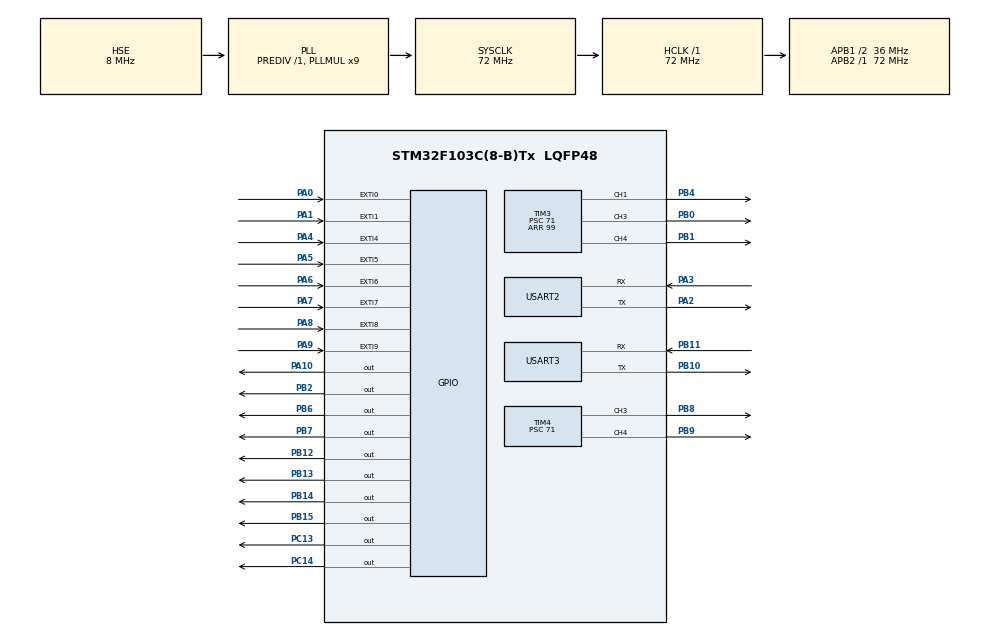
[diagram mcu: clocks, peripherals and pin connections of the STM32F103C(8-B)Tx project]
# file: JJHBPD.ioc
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Dma.Request0=USART2_RX
Dma.Request1=USART2_TX
Dma.Request2=USART3_RX
Dma.Request3=USART3_TX
Dma.USART2_RX.0.Direction=DMA_PERIPH_TO_MEMORY
Dma.USART2_RX.0.Instance=DMA1_Channel6
Dma.USART2_RX.0.MemDataAlignment=DMA_MDATAALIGN_BYTE
Dma.USART2_RX.0.MemInc=DMA_MINC_ENABLE
Dma.USART2_RX.0.Mode=DMA_NORMAL
Dma.USART2_RX.0.PeriphDataAlignment=DMA_PDATAALIGN_BYTE
Dma.USART2_RX.0.PeriphInc=DMA_PINC_DISABLE
Dma.USART2_RX.0.Priority=DMA_PRIORITY_MEDIUM
Dma.USART2_TX.1.Direction=DMA_MEMORY_TO_PERIPH
Dma.USART2_TX.1.Instance=DMA1_Channel7
Dma.USART2_TX.1.MemDataAlignment=DMA_MDATAALIGN_BYTE
Dma.USART2_TX.1.MemInc=DMA_MINC_ENABLE
Dma.USART2_TX.1.Mode=DMA_NORMAL
Dma.USART2_TX.1.PeriphDataAlignment=DMA_PDATAALIGN_BYTE
Dma.USART2_TX.1.PeriphInc=DMA_PINC_DISABLE
Dma.USART2_TX.1.Priority=DMA_PRIORITY_MEDIUM
Dma.USART3_RX.2.Direction=DMA_PERIPH_TO_MEMORY
Dma.USART3_RX.2.Instance=DMA1_Channel3
Dma.USART3_RX.2.MemDataAlignment=DMA_MDATAALIGN_BYTE
Dma.USART3_RX.2.MemInc=DMA_MINC_ENABLE
Dma.USART3_RX.2.Mode=DMA_NORMAL
Dma.USART3_RX.2.PeriphDataAlignment=DMA_PDATAALIGN_BYTE
Dma.USART3_RX.2.PeriphInc=DMA_PINC_DISABLE
Dma.USART3_RX.2.Priority=DMA_PRIORITY_MEDIUM
Dma.USART3_TX.3.Direction=DMA_MEMORY_TO_PERIPH
Dma.USART3_TX.3.Instance=DMA1_Channel2
Dma.USART3_TX.3.MemDataAlignment=DMA_MDATAALIGN_BYTE
Dma.USART3_TX.3.MemInc=DMA_MINC_ENABLE
Dma.USART3_TX.3.Mode=DMA_NORMAL
Dma.USART3_TX.3.PeriphDataAlignment=DMA_PDATAALIGN_BYTE
Dma.USART3_TX.3.PeriphInc=DMA_PINC_DISABLE
Dma.USART3_TX.3.Priority=DMA_PRIORITY_MEDIUM
Mcu.Family=STM32F1
Mcu.Name=STM32F103C(8-B)Tx
Mcu.Package=LQFP48
NVIC.DMA1_Channel2_IRQn=true\:0\:0\:false\:false\:true\:false\:true
NVIC.DMA1_Channel3_IRQn=true\:0\:0\:false\:false\:true\:false\:true
NVIC.DMA1_Channel6_IRQn=true\:0\:0\:false\:false\:true\:false\:true
NVIC.DMA1_Channel7_IRQn=true\:0\:0\:false\:false\:true\:false\:true
NVIC.EXTI0_IRQn=true\:1\:0\:true\:false\:true\:true\:true
NVIC.EXTI1_IRQn=true\:1\:0\:true\:false\:true\:true\:true
NVIC.EXTI4_IRQn=true\:1\:0\:true\:false\:true\:true\:true
NVIC.EXTI9_5_IRQn=true\:1\:0\:true\:false\:true\:true\:true
NVIC.PriorityGroup=NVIC_PRIORITYGROUP_4
NVIC.TIM2_IRQn=true\:1\:0\:true\:false\:true\:true\:true
NVIC.USART2_IRQn=true\:0\:0\:true\:false\:true\:true\:true
NVIC.USART3_IRQn=true\:0\:0\:false\:false\:true\:true\:true
PA0-WKUP.GPIO_ModeDefaultEXTI=GPIO_MODE_IT_RISING
PA0-WKUP.GPIO_PuPd=GPIO_PULLUP
PA0-WKUP.Signal=GPXTI0
PA1.GPIO_ModeDefaultEXTI=GPIO_MODE_IT_RISING
PA1.GPIO_PuPd=GPIO_PULLUP
PA1.Signal=GPXTI1
PA10.PinState=GPIO_PIN_SET
PA10.Signal=GPIO_Output
PA13.Mode=Serial_Wire
PA13.Signal=SYS_JTMS-SWDIO
PA14.Mode=Serial_Wire
PA14.Signal=SYS_JTCK-SWCLK
PA2.Mode=Asynchronous
PA2.Signal=USART2_TX
PA3.Mode=Asynchronous
PA3.Signal=USART2_RX
PA4.GPIO_ModeDefaultEXTI=GPIO_MODE_IT_RISING
PA4.GPIO_PuPd=GPIO_PULLUP
PA4.Signal=GPXTI4
PA5.GPIO_ModeDefaultEXTI=GPIO_MODE_IT_RISING
PA5.GPIO_PuPd=GPIO_PULLUP
PA5.Signal=GPXTI5
PA6.GPIO_ModeDefaultEXTI=GPIO_MODE_IT_RISING
PA6.GPIO_PuPd=GPIO_PULLUP
PA6.Signal=GPXTI6
PA7.GPIO_ModeDefaultEXTI=GPIO_MODE_IT_RISING
PA7.GPIO_PuPd=GPIO_PULLUP
PA7.Signal=GPXTI7
PA8.GPIO_ModeDefaultEXTI=GPIO_MODE_IT_RISING
PA8.GPIO_PuPd=GPIO_PULLUP
PA8.Signal=GPXTI8
PA9.GPIO_ModeDefaultEXTI=GPIO_MODE_IT_RISING
PA9.GPIO_PuPd=GPIO_PULLUP
PA9.Signal=GPXTI9
PB0.GPIO_Speed=GPIO_SPEED_FREQ_HIGH
PB0.Signal=S_TIM3_CH3
PB1.GPIO_Speed=GPIO_SPEED_FREQ_HIGH
PB1.Signal=S_TIM3_CH4
PB10.Mode=Asynchronous
PB10.Signal=USART3_TX
PB11.Mode=Asynchronous
PB11.Signal=USART3_RX
PB12.PinState=GPIO_PIN_SET
PB12.Signal=GPIO_Output
PB13.PinState=GPIO_PIN_RESET
PB13.Signal=GPIO_Output
PB14.PinState=GPIO_PIN_SET
PB14.Signal=GPIO_Output
PB15.PinState=GPIO_PIN_RESET
PB15.Signal=GPIO_Output
PB2.Signal=GPIO_Output
PB4.Signal=S_TIM3_CH1
PB6.PinState=GPIO_PIN_SET
PB6.Signal=GPIO_Output
PB7.PinState=GPIO_PIN_RESET
PB7.Signal=GPIO_Output
PB8.GPIO_Speed=GPIO_SPEED_FREQ_HIGH
PB8.Signal=S_TIM4_CH3
PB9.Signal=S_TIM4_CH4
PC13-TAMPER-RTC.GPIO_PuPd=GPIO_PULLUP
PC13-TAMPER-RTC.PinState=GPIO_PIN_SET
PC13-TAMPER-RTC.Signal=GPIO_Output
PC14-OSC32_IN.GPIO_PuPd=GPIO_PULLDOWN
PC14-OSC32_IN.Signal=GPIO_Output
PD0-OSC_IN.Mode=HSE-External-Oscillator
PD0-OSC_IN.Signal=RCC_OSC_IN
PD1-OSC_OUT.Mode=HSE-External-Oscillator
PD1-OSC_OUT.Signal=RCC_OSC_OUT
ProjectManager.HeapSize=0x200
ProjectManager.StackSize=0x400
ProjectManager.TargetToolchain=MDK-ARM V5.32
RCC.AHBFreq_Value=72000000
RCC.APB1CLKDivider=RCC_HCLK_DIV2
RCC.APB1Freq_Value=36000000
RCC.APB1TimFreq_Value=72000000
RCC.APB2Freq_Value=72000000
RCC.APB2TimFreq_Value=72000000
RCC.HCLKFreq_Value=72000000
RCC.PLLMUL=RCC_PLL_MUL9
RCC.PLLSourceVirtual=RCC_PLLSOURCE_HSE
RCC.SYSCLKFreq_VALUE=72000000
RCC.SYSCLKSource=RCC_SYSCLKSOURCE_PLLCLK
RCC.USBFreq_Value=72000000
SH.S_TIM3_CH1.0=TIM3_CH1,PWM Generation1 CH1
SH.S_TIM3_CH3.0=TIM3_CH3,PWM Generation3 CH3
SH.S_TIM3_CH4.0=TIM3_CH4,PWM Generation4 CH4
SH.S_TIM4_CH3.0=TIM4_CH3,PWM Generation3 CH3
SH.S_TIM4_CH4.0=TIM4_CH4,PWM Generation4 CH4
TIM2.Period=9999
TIM2.Prescaler=71
TIM3.Channel-PWM\ Generation1\ CH1=TIM_CHANNEL_1
TIM3.Channel-PWM\ Generation3\ CH3=TIM_CHANNEL_3
TIM3.Channel-PWM\ Generation4\ CH4=TIM_CHANNEL_4
TIM3.Period=99
TIM3.Prescaler=71
TIM3.Pulse-PWM\ Generation1\ CH1=50
TIM3.Pulse-PWM\ Generation4\ CH4=50
TIM4.Channel-PWM\ Generation3\ CH3=TIM_CHANNEL_3
TIM4.Channel-PWM\ Generation4\ CH4=TIM_CHANNEL_4
TIM4.Period=99
TIM4.Prescaler=71
TIM4.Pulse-PWM\ Generation3\ CH3=50
USART2.VirtualMode=VM_ASYNC
USART3.VirtualMode=VM_ASYNC
VP_TIM2_VS_ClockSourceINT.Mode=Internal
VP_TIM3_VS_ClockSourceINT.Mode=Internal
VP_TIM4_VS_ClockSourceINT.Mode=Internal
board=custom

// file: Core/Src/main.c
/* USER CODE BEGIN Header */
/**
  ******************************************************************************
  * @file           : main.c
  * @brief          : Main program body
  ******************************************************************************
  * @attention
  *
  * <h2><center>&copy; Copyright (c) 2024 STMicroelectronics.
  * All rights reserved.</center></h2>
  *
  * This software component is licensed by ST under BSD 3-Clause license,
  * the "License"; You may not use this file except in compliance with the
  * License. You may obtain a copy of the License at:
  *                        opensource.org/licenses/BSD-3-Clause
  *
  ******************************************************************************
  */
/* USER CODE END Header */
#include "main.h"
#include "dma.h"
#include "tim.h"
#include "usart.h"
#include "gpio.h"

/* USER CODE BEGIN Includes */
#include "string.h"
#include <stdlib.h>
#define ORDER 0x24
/* USER CODE END Includes */

/* USER CODE BEGIN PV */
/* USER CODE BEGIN PV */

/* USER CODE END PV */

void SystemClock_Config(void);

/* USER CODE BEGIN 0 */
	/*PID*/
	uint32_t counter_1 = 0;//编码器计数
	float rotations_1 = 0;//转动圈数
	float distance_1 = 0;//行走距离
	int32_t counter_last_1 = 0;//保存上一次编码器计数
	float speed_w_1 = 0;//轮子角速度
	float speed_v_1 = 0;//轮子线速度
	uint8_t direction_2 = 2;//2轮
	uint32_t counter_2 = 0;
	float rotations_2 = 0;
	float distance_2 = 0;
	int32_t counter_last_2 = 0;
	float speed_w_2 = 0;
	float speed_v_2 = 0;
	uint8_t direction_3 = 2;//3轮
	uint32_t counter_3 = 0;
	float rotations_3 = 0;
	float distance_3 = 0;
	int32_t counter_last_3 = 0;
	float speed_w_3 = 0;
	float speed_v_3 = 0;
	uint8_t direction_4 = 2;//4轮
	uint32_t counter_4 = 0;
	float rotations_4 = 0;
	float distance_4 = 0;
	int32_t counter_last_4 = 0;
	float speed_w_4 = 0;
	float speed_v_4 = 0;
	typedef struct
	{
		float Kp_1,Kp_2,Kp_3,Kp_4;//设置比例系数
		float Ki_1,Ki_2,Ki_3,Ki_4;//设置积分系数
		float Kd_1,Kd_2,Kd_3,Kd_4;//设置微分系数
		float setpoint_1,setpoint_2,setpoint_3,setpoint_4;//目标值
		float integral_1,integral_2,integral_3,integral_4;//误差积分
  float new_error_1,new_error_2,new_error_3,new_error_4;//误差
		float error_1,error_2,error_3,error_4;//上一个误差
  float derivative_1,derivative_2,derivative_3,derivative_4;//微分
		float Output_1,Output_2,Output_3,Output_4; // PID输出
	}PID_TypeDef;
	PID_TypeDef pid;
 // 初始化PID
  void PID_Init_1(PID_TypeDef* pid, float Kp_1, float Ki_1, float Kd_1, float setpoint_1);
  void PID_Init_2(PID_TypeDef* pid, float Kp_2, float Ki_2, float Kd_2, float setpoint_2);
  void PID_Init_3(PID_TypeDef* pid, float Kp_3, float Ki_3, float Kd_3, float setpoint_3);
  void PID_Init_4(PID_TypeDef* pid, float Kp_4, float Ki_4, float Kd_4, float setpoint_4);
  float PID_Compute_moto1(PID_TypeDef*pid);//PID计算函数
  float PID_Compute_moto2(PID_TypeDef*pid);
  float PID_Compute_moto3(PID_TypeDef*pid);
  float PID_Compute_moto4(PID_TypeDef*pid);
  void ControlMotorSpeed_1(float speed);//电机控制函数
  void ControlMotorSpeed_2(float speed);
  void ControlMotorSpeed_3(float speed);
  void ControlMotorSpeed_4(float speed);
  void ControlMotorDirection_stop();//电机方向函数
  void ControlMotorDirection_front();
  void ControlMotorDirection_back();
  void ControlMotorDirection_left_front();
  void ControlMotorDirection_left_back();
  void ControlMotorDirection_left();
  void ControlMotorDirection_right_front();
  void ControlMotorDirection_right_back();
  void ControlMotorDirection_right();

void HAL_UART_RxCpltCallback(UART_HandleTypeDef *huart)
{
 if(huart->Instance==USART2)
 {
   if(receive_data[0]==0xa5&&receive_data[4]==0x5a)
			{
    receive_ESP32_Data.Header=receive_data[0];
				receive_ESP32_Data.button_status=receive_data[1];
				receive_ESP32_Data.joystick_x=hexToDecimal(receive_data[2])-100;
				receive_ESP32_Data.joystick_y=hexToDecimal(receive_data[3])-100;
				receive_ESP32_Data.Tail=receive_data[4];
				if(receive_ESP32_Data.button_status==ORDER)
				{
				 uint8_t PC_Flag[]={0x01,0x10};
				HAL_UART_Transmit_DMA(&huart3,PC_Flag,1);
				}
   }
   else
   {
    HAL_NVIC_SystemReset();
   }
   if(receive_ESP32_Data.joystick_x == 0 && receive_ESP32_Data.joystick_y > 0)//front
   {
      ControlMotorDirection_front();
      PID_Init_1(&pid, 1.0, 0.1, 0.05, receive_ESP32_Data.joystick_y * 8);//0位要通过xy计算
      PID_Init_2(&pid, 1.0, 0.1, 0.05, receive_ESP32_Data.joystick_y * 8);
      PID_Init_3(&pid, 1.0, 0.1, 0.05, receive_ESP32_Data.joystick_y * 8);
      PID_Init_4(&pid, 1.0, 0.1, 0.05, receive_ESP32_Data.joystick_y * 8);
      ControlMotorSpeed_1(PID_Compute_moto1(&pid));//转到定义改系数
      ControlMotorSpeed_2(PID_Compute_moto2(&pid));
      ControlMotorSpeed_3(PID_Compute_moto3(&pid));
      ControlMotorSpeed_4(PID_Compute_moto4(&pid));
   }
   if(receive_ESP32_Data.joystick_x == 0 && receive_ESP32_Data.joystick_y < 0)//back
   {
      ControlMotorDirection_back();
      PID_Init_1(&pid, 1.0, 0.1, 0.05, -receive_ESP32_Data.joystick_y * 8);//0位要通过xy计算
      PID_Init_2(&pid, 1.0, 0.1, 0.05, -receive_ESP32_Data.joystick_y * 8);
      PID_Init_3(&pid, 1.0, 0.1, 0.05, -receive_ESP32_Data.joystick_y * 8);
      PID_Init_4(&pid, 1.0, 0.1, 0.05, -receive_ESP32_Data.joystick_y * 8);
      ControlMotorSpeed_1(PID_Compute_moto1(&pid));//转到定义改系数
      ControlMotorSpeed_2(PID_Compute_moto2(&pid));
      ControlMotorSpeed_3(PID_Compute_moto3(&pid));
      ControlMotorSpeed_4(PID_Compute_moto4(&pid));
   }
   if(receive_ESP32_Data.joystick_x < 0 && receive_ESP32_Data.joystick_x > -40 && receive_ESP32_Data.joystick_y > 0)//left front 0-45
   {
      ControlMotorDirection_left_front();
      PID_Init_1(&pid, 1.0, 0.1, 0.05, 400+receive_ESP32_Data.joystick_x * 8);//0位要通过xy计算
      PID_Init_2(&pid, 1.0, 0.1, 0.05, 400+receive_ESP32_Data.joystick_x * 8);
      PID_Init_3(&pid, 1.0, 0.1, 0.05, 400);
      PID_Init_4(&pid, 1.0, 0.1, 0.05, 400);
      ControlMotorSpeed_1(PID_Compute_moto1(&pid));//转到定义改系数
      ControlMotorSpeed_2(PID_Compute_moto2(&pid));
      ControlMotorSpeed_3(PID_Compute_moto3(&pid));
      ControlMotorSpeed_4(PID_Compute_moto4(&pid));
   }
   if(receive_ESP32_Data.joystick_x <= -40)//left
   {
      ControlMotorDirection_left();
      PID_Init_1(&pid, 1.0, 0.1, 0.05, 400);//0位要通过xy计算
      PID_Init_2(&pid, 1.0, 0.1, 0.05, 400);
      PID_Init_3(&pid, 1.0, 0.1, 0.05, 400);
      PID_Init_4(&pid, 1.0, 0.1, 0.05, 400);
      ControlMotorSpeed_1(PID_Compute_moto1(&pid));//转到定义改系数
      ControlMotorSpeed_2(PID_Compute_moto2(&pid));
      ControlMotorSpeed_3(PID_Compute_moto3(&pid));
      ControlMotorSpeed_4(PID_Compute_moto4(&pid));
   }
   if(receive_ESP32_Data.joystick_x < 0 && receive_ESP32_Data.joystick_x > -40 && receive_ESP32_Data.joystick_y < 0)//left back 135-180
   {
      ControlMotorDirection_left_back();
      PID_Init_1(&pid, 1.0, 0.1, 0.05, 400+receive_ESP32_Data.joystick_x * 8);//0位要通过xy计算
      PID_Init_2(&pid, 1.0, 0.1, 0.05, 400+receive_ESP32_Data.joystick_x * 8);
      PID_Init_3(&pid, 1.0, 0.1, 0.05, 400);
      PID_Init_4(&pid, 1.0, 0.1, 0.05, 400);
      ControlMotorSpeed_1(PID_Compute_moto1(&pid));//转到定义改系数
      ControlMotorSpeed_2(PID_Compute_moto2(&pid));
      ControlMotorSpeed_3(PID_Compute_moto3(&pid));
      ControlMotorSpeed_4(PID_Compute_moto4(&pid));
   }
   if(receive_ESP32_Data.joystick_x > 0 && receive_ESP32_Data.joystick_x < 40 && receive_ESP32_Data.joystick_y > 0)//right front 0-45
   {
      ControlMotorDirection_right_front();
      PID_Init_1(&pid, 1.0, 0.1, 0.05, 400);//0位要通过xy计算
      PID_Init_2(&pid, 1.0, 0.1, 0.05, 400);
      PID_Init_3(&pid, 1.0, 0.1, 0.05, 400-receive_ESP32_Data.joystick_x * 8);
      PID_Init_4(&pid, 1.0, 0.1, 0.05, 400-receive_ESP32_Data.joystick_x * 8);
      ControlMotorSpeed_1(PID_Compute_moto1(&pid));//转到定义改系数
      ControlMotorSpeed_2(PID_Compute_moto2(&pid));
      ControlMotorSpeed_3(PID_Compute_moto3(&pid));
      ControlMotorSpeed_4(PID_Compute_moto4(&pid));
   }
   if(receive_ESP32_Data.joystick_x > 40)//right
   {
      ControlMotorDirection_right();
      PID_Init_1(&pid, 1.0, 0.1, 0.05, 400);//0位要通过xy计算
      PID_Init_2(&pid, 1.0, 0.1, 0.05, 400);
      PID_Init_3(&pid, 1.0, 0.1, 0.05, 400);
      PID_Init_4(&pid, 1.0, 0.1, 0.05, 400);
      ControlMotorSpeed_1(PID_Compute_moto1(&pid));//转到定义改系数
      ControlMotorSpeed_2(PID_Compute_moto2(&pid));
      ControlMotorSpeed_3(PID_Compute_moto3(&pid));
      ControlMotorSpeed_4(PID_Compute_moto4(&pid));
   }
   if(receive_ESP32_Data.joystick_x > 0 && receive_ESP32_Data.joystick_x < 40 && receive_ESP32_Data.joystick_y < 0)//right back
   {
      ControlMotorDirection_right_back();
      PID_Init_1(&pid, 1.0, 0.1, 0.05, 400);//0位要通过xy计算
      PID_Init_2(&pid, 1.0, 0.1, 0.05, 400);
      PID_Init_3(&pid, 1.0, 0.1, 0.05, 400-receive_ESP32_Data.joystick_x * 8);
      PID_Init_4(&pid, 1.0, 0.1, 0.05, 400-receive_ESP32_Data.joystick_x * 8);
      ControlMotorSpeed_1(PID_Compute_moto1(&pid));//转到定义改系数
      ControlMotorSpeed_2(PID_Compute_moto2(&pid));
      ControlMotorSpeed_3(PID_Compute_moto3(&pid));
      ControlMotorSpeed_4(PID_Compute_moto4(&pid));
   }
   if(receive_ESP32_Data.joystick_x == 0 &&receive_ESP32_Data.joystick_y == 0)//STOP
   {
      HAL_GPIO_WritePin (GPIOC,GPIO_PIN_13,GPIO_PIN_SET);//电机1
      HAL_GPIO_WritePin (GPIOC,GPIO_PIN_14,GPIO_PIN_RESET);
      HAL_GPIO_WritePin (GPIOB,GPIO_PIN_6,GPIO_PIN_RESET);//电机2
      HAL_GPIO_WritePin (GPIOB,GPIO_PIN_7,GPIO_PIN_SET);
      HAL_GPIO_WritePin (GPIOA,GPIO_PIN_10,GPIO_PIN_SET);//电机3
      HAL_GPIO_WritePin (GPIOB,GPIO_PIN_15,GPIO_PIN_RESET);
      HAL_GPIO_WritePin (GPIOB,GPIO_PIN_13,GPIO_PIN_SET);//电机4
      HAL_GPIO_WritePin (GPIOB,GPIO_PIN_14,GPIO_PIN_RESET);
      PID_Init_1(&pid, 1.0, 0.1, 0.05, 0);//0位要通过xy计算
      PID_Init_2(&pid, 1.0, 0.1, 0.05, 0);
      PID_Init_3(&pid, 1.0, 0.1, 0.05, 0);
      PID_Init_4(&pid, 1.0, 0.1, 0.05, 0);
      ControlMotorSpeed_1(PID_Compute_moto1(&pid));//转到定义改系数
      ControlMotorSpeed_2(PID_Compute_moto2(&pid));
      ControlMotorSpeed_3(PID_Compute_moto3(&pid));
      ControlMotorSpeed_4(PID_Compute_moto4(&pid));
   }
			HAL_UART_Receive_IT(&huart2,receive_data, 5);

 }

}

void HAL_UARTEx_RxEventCallback(UART_HandleTypeDef *huart, uint16_t Size)
{
if (huart == &huart3)
    {
        __HAL_UNLOCK(huart);
				xUSART_PC.ReceiveNum  = 14;
        memset(xUSART_PC.ReceiveData, 0, 14);
        memcpy(xUSART_PC.ReceiveData, xUSART_PC.BuffTemp, 14);
			for(int i=0;i<12;i++)
			{
			buffer1.char_data[i]=xUSART_PC.ReceiveData[i+1];
			}
     if(xUSART_PC.ReceiveData[0]==0x01)
     {
      HAL_UART_Receive_IT(&huart2, receive_data, 5);
     }
			 if(xUSART_PC.ReceiveData[0]==0x2a&&xUSART_PC.ReceiveData[13]==0x3b)
			{
				receive_PC_Data.Header=xUSART_PC.ReceiveData[0];
				receive_PC_Data.x=buffer1.data[0];
				receive_PC_Data.y=buffer1.data[1];
				receive_PC_Data.yaw=buffer1.data[2];
				receive_PC_Data.Tail=xUSART_PC.ReceiveData[13];
			}
   if (receive_PC_Data.x == 1 && receive_PC_Data.yaw == 0 )
   {
      HAL_GPIO_WritePin (GPIOC,GPIO_PIN_13,GPIO_PIN_SET);//电机1
      HAL_GPIO_WritePin (GPIOC,GPIO_PIN_14,GPIO_PIN_RESET);
      HAL_GPIO_WritePin (GPIOB,GPIO_PIN_6,GPIO_PIN_RESET);//电机2
      HAL_GPIO_WritePin (GPIOB,GPIO_PIN_7,GPIO_PIN_SET);
      HAL_GPIO_WritePin (GPIOA,GPIO_PIN_10,GPIO_PIN_SET);//电机3
      HAL_GPIO_WritePin (GPIOB,GPIO_PIN_15,GPIO_PIN_RESET);
      HAL_GPIO_WritePin (GPIOB,GPIO_PIN_13,GPIO_PIN_SET);//电机4
      HAL_GPIO_WritePin (GPIOB,GPIO_PIN_14,GPIO_PIN_RESET);
      __HAL_TIM_SET_COMPARE(&htim3,TIM_CHANNEL_3,20);
      __HAL_TIM_SET_COMPARE(&htim3,TIM_CHANNEL_4,20);
      __HAL_TIM_SET_COMPARE(&htim4,TIM_CHANNEL_3,20);
      __HAL_TIM_SET_COMPARE(&htim4,TIM_CHANNEL_4,20);
   }
   else if (receive_PC_Data.x == -1 && receive_PC_Data.yaw == 0 )
   {
      HAL_GPIO_WritePin (GPIOC,GPIO_PIN_13,GPIO_PIN_RESET);//电机1
      HAL_GPIO_WritePin (GPIOC,GPIO_PIN_14,GPIO_PIN_SET);
      HAL_GPIO_WritePin (GPIOB,GPIO_PIN_6,GPIO_PIN_SET);//电机2
      HAL_GPIO_WritePin (GPIOB,GPIO_PIN_7,GPIO_PIN_RESET);
      HAL_GPIO_WritePin (GPIOA,GPIO_PIN_10,GPIO_PIN_RESET);//电机3
      HAL_GPIO_WritePin (GPIOB,GPIO_PIN_15,GPIO_PIN_SET);
      HAL_GPIO_WritePin (GPIOB,GPIO_PIN_13,GPIO_PIN_RESET);//电机4
      HAL_GPIO_WritePin (GPIOB,GPIO_PIN_14,GPIO_PIN_SET);
      __HAL_TIM_SET_COMPARE(&htim3,TIM_CHANNEL_3,20);
      __HAL_TIM_SET_COMPARE(&htim3,TIM_CHANNEL_4,20);
      __HAL_TIM_SET_COMPARE(&htim4,TIM_CHANNEL_3,20);
      __HAL_TIM_SET_COMPARE(&htim4,TIM_CHANNEL_4,20);
   }
   else if (receive_PC_Data.x == 0 && receive_PC_Data.yaw == 1 )
   {
      HAL_GPIO_WritePin (GPIOC,GPIO_PIN_13,GPIO_PIN_RESET);//电机1
      HAL_GPIO_WritePin (GPIOC,GPIO_PIN_14,GPIO_PIN_SET);
      HAL_GPIO_WritePin (GPIOB,GPIO_PIN_6,GPIO_PIN_SET);//电机2
      HAL_GPIO_WritePin (GPIOB,GPIO_PIN_7,GPIO_PIN_RESET);
      HAL_GPIO_WritePin (GPIOA,GPIO_PIN_10,GPIO_PIN_SET);//电机3
      HAL_GPIO_WritePin (GPIOB,GPIO_PIN_15,GPIO_PIN_RESET);
      HAL_GPIO_WritePin (GPIOB,GPIO_PIN_13,GPIO_PIN_SET);//电机4
      HAL_GPIO_WritePin (GPIOB,GPIO_PIN_14,GPIO_PIN_RESET);
      __HAL_TIM_SET_COMPARE(&htim3,TIM_CHANNEL_3,40);
      __HAL_TIM_SET_COMPARE(&htim3,TIM_CHANNEL_4,40);
      __HAL_TIM_SET_COMPARE(&htim4,TIM_CHANNEL_3,40);
      __HAL_TIM_SET_COMPARE(&htim4,TIM_CHANNEL_4,40);
   }
   else if (receive_PC_Data.x == 0 && receive_PC_Data.yaw == -1 )
   {
      HAL_GPIO_WritePin (GPIOC,GPIO_PIN_13,GPIO_PIN_SET);//电机1
      HAL_GPIO_WritePin (GPIOC,GPIO_PIN_14,GPIO_PIN_RESET);
      HAL_GPIO_WritePin (GPIOB,GPIO_PIN_6,GPIO_PIN_RESET);//电机2
      HAL_GPIO_WritePin (GPIOB,GPIO_PIN_7,GPIO_PIN_SET);
      HAL_GPIO_WritePin (GPIOA,GPIO_PIN_10,GPIO_PIN_RESET);//电机3
      HAL_GPIO_WritePin (GPIOB,GPIO_PIN_15,GPIO_PIN_SET);
      HAL_GPIO_WritePin (GPIOB,GPIO_PIN_13,GPIO_PIN_RESET);//电机4
      HAL_GPIO_WritePin (GPIOB,GPIO_PIN_14,GPIO_PIN_SET);
      __HAL_TIM_SET_COMPARE(&htim3,TIM_CHANNEL_3,40);
      __HAL_TIM_SET_COMPARE(&htim3,TIM_CHANNEL_4,40);
      __HAL_TIM_SET_COMPARE(&htim4,TIM_CHANNEL_3,40);
      __HAL_TIM_SET_COMPARE(&htim4,TIM_CHANNEL_4,40);
   }
	 else
   {
      HAL_GPIO_WritePin (GPIOC,GPIO_PIN_13,GPIO_PIN_RESET);//电机1
      HAL_GPIO_WritePin (GPIOC,GPIO_PIN_14,GPIO_PIN_RESET);
      HAL_GPIO_WritePin (GPIOB,GPIO_PIN_6,GPIO_PIN_RESET);//电机2
      HAL_GPIO_WritePin (GPIOB,GPIO_PIN_7,GPIO_PIN_RESET);
      HAL_GPIO_WritePin (GPIOA,GPIO_PIN_10,GPIO_PIN_RESET);//电机3
      HAL_GPIO_WritePin (GPIOB,GPIO_PIN_15,GPIO_PIN_RESET);
      HAL_GPIO_WritePin (GPIOB,GPIO_PIN_13,GPIO_PIN_RESET);//电机4
      HAL_GPIO_WritePin (GPIOB,GPIO_PIN_14,GPIO_PIN_RESET);
      __HAL_TIM_SET_COMPARE(&htim3,TIM_CHANNEL_3,0);
      __HAL_TIM_SET_COMPARE(&htim3,TIM_CHANNEL_4,0);
      __HAL_TIM_SET_COMPARE(&htim4,TIM_CHANNEL_3,0);
      __HAL_TIM_SET_COMPARE(&htim4,TIM_CHANNEL_4,0);
   }
			 HAL_UARTEx_ReceiveToIdle_DMA(&huart3, xUSART_PC.BuffTemp, 14);
   __HAL_DMA_DISABLE_IT(&hdma_usart3_rx,DMA_IT_HT);
		}
}

  void HAL_TIM_PeriodElapsedCallback(TIM_HandleTypeDef *htim)
  {
	 if(htim->Instance == TIM2)
	 {
		//计算
		rotations_1 = (float)counter_1 /(1*30*11);//1倍频 30减速比 编码器11PPR
	 distance_1 = rotations_1  * 3.1415926 * 0.065;//轮子直径0.065m
	 speed_w_1 = (float)(counter_1 - counter_last_1)/(1*30*11) * (1000/10) * 60;//uint-rpm
	 speed_v_1 = speed_w_1 / 60 * 3.1415926 * 1;//每秒转速
		counter_last_1 = counter_1 ;//保存上一次编码器读数
		rotations_2 = (float)counter_2 /(1*30*11);
		distance_2 = rotations_2  * 3.1415926 * 0.065;
		speed_w_2 = (float)(counter_2 - counter_last_2)/(1*30*11) * (1000/10) * 60;
		speed_v_2 = speed_w_2 / 60 * 3.1415926 * 1;
		counter_last_2 = counter_2 ;
		rotations_3 = (float)counter_3 /(1*30*11);
		distance_3 = rotations_3  * 3.1415926 * 0.065;
		speed_w_3 = (float)(counter_3 - counter_last_3)/(1*30*11) * (1000/10) * 60;
		speed_v_3 = speed_w_3 / 60 * 3.1415926 * 1;
		counter_last_3 = counter_3 ;
		rotations_4 = (float)counter_4 /(1*30*11);
		distance_4 = rotations_4  * 3.1415926 * 0.065;
		speed_w_4 = (float)(counter_4 - counter_last_4)/(1*30*11) * (1000/10) * 60;
		speed_v_4 = speed_w_4 / 60 * 3.1415926 * 1;
		counter_last_4 = counter_4 ;
	 }
  }
  void HAL_GPIO_EXTI_Callback(uint16_t GPIO_Pin)
  {
	 if(GPIO_Pin == GPIO_PIN_8)//电机1A相
	 {
		counter_1 ++;
	 }
	 if(GPIO_Pin == GPIO_PIN_0)//电机2A相
	 {
		counter_2 ++;
	 }
	 if(GPIO_Pin == GPIO_PIN_6)//电机3A相
	 {
		counter_3 ++;
	 }
	 if(GPIO_Pin == GPIO_PIN_4)//电机4A相
	 {
		counter_4 ++;
	 }
  }
/* USER CODE END 0 */

int main(void)
{
  /* USER CODE BEGIN 1 */
  //__HAL_TIM_SET_COMPARE(&htim3,TIM_CHANNEL_3,50);
  /* USER CODE END 1 */

  /* MCU Configuration--------------------------------------------------------*/

  /* Reset of all peripherals, Initializes the Flash interface and the Systick. */
  HAL_Init();

  /* USER CODE BEGIN Init */
 // 初始化PID控制器
  PID_Init_1(&pid, 1.0, 0.1, 0.05, 0); // 假设Kp=1.0, Ki=0.1, Kd=0.05, 目标转速0RPM（要调）
  PID_Init_2(&pid, 1.0, 0.1, 0.05, 0);
  PID_Init_3(&pid, 1.0, 0.1, 0.05, 0);
  PID_Init_4(&pid, 1.0, 0.1, 0.05, 0);
  /* USER CODE END Init */

  /* Configure the system clock */
  SystemClock_Config();

  /* Initialize all configured peripherals */
  MX_GPIO_Init();
  MX_TIM4_Init();
  MX_USART2_UART_Init();
  MX_TIM2_Init();
  MX_TIM3_Init();
  MX_DMA_Init();
  MX_USART3_UART_Init();
  /* USER CODE BEGIN 2 */
  HAL_TIM_PWM_Start(&htim3,TIM_CHANNEL_4);
  HAL_TIM_PWM_Start(&htim3,TIM_CHANNEL_3);
  HAL_TIM_PWM_Start(&htim4,TIM_CHANNEL_3);
  HAL_TIM_PWM_Start(&htim4,TIM_CHANNEL_4);
  HAL_TIM_Base_Start_IT(&htim2);
 HAL_UARTEx_ReceiveToIdle_DMA(&huart3, xUSART_PC.BuffTemp, 14);
	__HAL_DMA_DISABLE_IT(&hdma_usart3_rx,DMA_IT_HT);
 HAL_UART_Receive_IT(&huart2,receive_data, 5);
  /* USER CODE END 2 */

  /* Infinite loop */
  while (1)
  {

  }
}

void SystemClock_Config(void)
{
  RCC_OscInitTypeDef RCC_OscInitStruct = {0};
  RCC_ClkInitTypeDef RCC_ClkInitStruct = {0};

  /** Initializes the RCC Oscillators according to the specified parameters
  * in the RCC_OscInitTypeDef structure.
  */
  RCC_OscInitStruct.OscillatorType = RCC_OSCILLATORTYPE_HSE;
  RCC_OscInitStruct.HSEState = RCC_HSE_ON;
  RCC_OscInitStruct.HSEPredivValue = RCC_HSE_PREDIV_DIV1;
  RCC_OscInitStruct.HSIState = RCC_HSI_ON;
  RCC_OscInitStruct.PLL.PLLState = RCC_PLL_ON;
  RCC_OscInitStruct.PLL.PLLSource = RCC_PLLSOURCE_HSE;
  RCC_OscInitStruct.PLL.PLLMUL = RCC_PLL_MUL9;
  if (HAL_RCC_OscConfig(&RCC_OscInitStruct) != HAL_OK)
  {
    Error_Handler();
  }
  /** Initializes the CPU, AHB and APB buses clocks
  */
  RCC_ClkInitStruct.ClockType = RCC_CLOCKTYPE_HCLK|RCC_CLOCKTYPE_SYSCLK
                              |RCC_CLOCKTYPE_PCLK1|RCC_CLOCKTYPE_PCLK2;
  RCC_ClkInitStruct.SYSCLKSource = RCC_SYSCLKSOURCE_PLLCLK;
  RCC_ClkInitStruct.AHBCLKDivider = RCC_SYSCLK_DIV1;
  RCC_ClkInitStruct.APB1CLKDivider = RCC_HCLK_DIV2;
  RCC_ClkInitStruct.APB2CLKDivider = RCC_HCLK_DIV1;

  if (HAL_RCC_ClockConfig(&RCC_ClkInitStruct, FLASH_LATENCY_2) != HAL_OK)
  {
    Error_Handler();
  }
}

/* USER CODE BEGIN 4 */
void PID_Init_1(PID_TypeDef* pid, float Kp_1, float Ki_1, float Kd_1, float setpoint_1) {
    pid->Kp_1 = Kp_1;
    pid->Ki_1 = Ki_1;
    pid->Kd_1  = Kd_1 ;
    pid->setpoint_1 = setpoint_1;
    pid->integral_1 = 0.0f;
    pid->error_1 = 0.0f;
    pid->Output_1 = 0.0f;
}
void PID_Init_2(PID_TypeDef* pid, float Kp_2, float Ki_2, float Kd_2, float setpoint_2) {
    pid->Kp_2 = Kp_2;
    pid->Ki_2 = Ki_2;
    pid->Kd_2  = Kd_2;
    pid->setpoint_2 = setpoint_2;
    pid->integral_2 = 0.0f;
    pid->error_2 = 0.0f;
    pid->Output_2 = 0.0f;
}
void PID_Init_3(PID_TypeDef* pid, float Kp_3, float Ki_3, float Kd_3, float setpoint_3) {
    pid->Kp_3 = Kp_3;
    pid->Ki_3 = Ki_3;
    pid->Kd_3 = Kd_3;
    pid->setpoint_3 = setpoint_3;
    pid->integral_3 = 0.0f;
    pid->error_3 = 0.0f;
    pid->Output_3 = 0.0f;
}
void PID_Init_4(PID_TypeDef* pid, float Kp_4, float Ki_4, float Kd_4, float setpoint_4) {
    pid->Kp_4 = Kp_4;
    pid->Ki_4 = Ki_4;
    pid->Kd_4  = Kd_4 ;
    pid->setpoint_4 = setpoint_4;
    pid->integral_4 = 0.0f;
    pid->error_4 = 0.0f;
    pid->Output_4 = 0.0f;
}
float PID_Compute_moto1(PID_TypeDef*pid)
{
	   pid->new_error_1 = pid->setpoint_1 - speed_w_1;  // 计算误差
    pid->integral_1 += pid->new_error_1;  // 积分
    pid->derivative_1 = pid->new_error_1 - pid->error_1;  // 计算微分
    pid->Output_1 = pid->Kp_1 * pid->new_error_1 + pid->Ki_1 * pid->integral_1 + pid->Kd_1 * pid->derivative_1;// 计算PID输出
    pid->error_1 = pid->new_error_1;  // 更新上一个误差
    return pid->Output_1;  // 返回控制输出
}
float PID_Compute_moto2(PID_TypeDef*pid)
{
	   pid->new_error_2 = pid->setpoint_2 - speed_w_2;  // 计算误差
    pid->integral_2 += pid->new_error_2;  // 积分
    pid->derivative_2 = pid->new_error_2 - pid->error_2;  // 计算微分
    pid->Output_2 = pid->Kp_2 * pid->new_error_2 + pid->Ki_2 * pid->integral_2 + pid->Kd_2 * pid->derivative_2;// 计算PID输出
    pid->error_2 = pid->new_error_2;  // 更新上一个误差
    return pid->Output_2;  // 返回控制输出
}
float PID_Compute_moto3(PID_TypeDef*pid)
{
	   pid->new_error_3 = pid->setpoint_3 - speed_w_3;  // 计算误差
    pid->integral_3 += pid->new_error_3;  // 积分
    pid->derivative_3 = pid->new_error_3 - pid->error_3;  // 计算微分
    pid->Output_3 = pid->Kp_3 * pid->new_error_3 + pid->Ki_3 * pid->integral_3 + pid->Kd_3 * pid->derivative_3;// 计算PID输出
    pid->error_3 = pid->new_error_3;  // 更新上一个误差
    return pid->Output_3;  // 返回控制输出
}
float PID_Compute_moto4(PID_TypeDef*pid)
{
	   pid->new_error_4 = pid->setpoint_4 - speed_w_4 ;  // 计算误差
    pid->integral_4 += pid->new_error_4;  // 积分
    pid->derivative_4 = pid->new_error_4 - pid->error_4;  // 计算微分
    pid->Output_4 = pid->Kp_4 * pid->new_error_4 + pid->Ki_4 * pid->integral_4 + pid->Kd_4 * pid->derivative_4;// 计算PID输出
    pid->error_4 = pid->new_error_4;  // 更新上一个误差
    return pid->Output_4;  // 返回控制输出
}
void ControlMotorSpeed_1(float speed)
{
    __HAL_TIM_SET_COMPARE (&htim3 ,TIM_CHANNEL_3,(uint16_t)speed );//具体什么系数要调
}
void ControlMotorSpeed_2(float speed)
{
    __HAL_TIM_SET_COMPARE (&htim3 ,TIM_CHANNEL_4,(uint16_t)speed );//具体什么系数要调
}
void ControlMotorSpeed_3(float speed)
{
    __HAL_TIM_SET_COMPARE (&htim4 ,TIM_CHANNEL_3,(uint16_t)speed );//具体什么系数要调
}
void ControlMotorSpeed_4(float speed)
{
    __HAL_TIM_SET_COMPARE (&htim4 ,TIM_CHANNEL_4,(uint16_t)speed );//具体什么系数要调
}
void ControlMotorDirection_stop()
{
      HAL_GPIO_WritePin (GPIOC,GPIO_PIN_13,GPIO_PIN_RESET);//电机1
      HAL_GPIO_WritePin (GPIOC,GPIO_PIN_14,GPIO_PIN_RESET);
      HAL_GPIO_WritePin (GPIOB,GPIO_PIN_6,GPIO_PIN_RESET);//电机2
      HAL_GPIO_WritePin (GPIOB,GPIO_PIN_7,GPIO_PIN_RESET);
      HAL_GPIO_WritePin (GPIOA,GPIO_PIN_10,GPIO_PIN_RESET);//电机3
      HAL_GPIO_WritePin (GPIOB,GPIO_PIN_15,GPIO_PIN_RESET);
      HAL_GPIO_WritePin (GPIOB,GPIO_PIN_13,GPIO_PIN_RESET);//电机4
      HAL_GPIO_WritePin (GPIOB,GPIO_PIN_14,GPIO_PIN_RESET);
}
void ControlMotorDirection_front()
{
      HAL_GPIO_WritePin (GPIOC,GPIO_PIN_13,GPIO_PIN_SET);//电机1
      HAL_GPIO_WritePin (GPIOC,GPIO_PIN_14,GPIO_PIN_RESET);
      HAL_GPIO_WritePin (GPIOB,GPIO_PIN_6,GPIO_PIN_RESET);//电机2
      HAL_GPIO_WritePin (GPIOB,GPIO_PIN_7,GPIO_PIN_SET);
      HAL_GPIO_WritePin (GPIOA,GPIO_PIN_10,GPIO_PIN_SET);//电机3
      HAL_GPIO_WritePin (GPIOB,GPIO_PIN_15,GPIO_PIN_RESET);
      HAL_GPIO_WritePin (GPIOB,GPIO_PIN_13,GPIO_PIN_SET);//电机4
      HAL_GPIO_WritePin (GPIOB,GPIO_PIN_14,GPIO_PIN_RESET);
}
void ControlMotorDirection_back()
{
      HAL_GPIO_WritePin (GPIOC,GPIO_PIN_13,GPIO_PIN_RESET);//电机1
      HAL_GPIO_WritePin (GPIOC,GPIO_PIN_14,GPIO_PIN_SET);
      HAL_GPIO_WritePin (GPIOB,GPIO_PIN_6,GPIO_PIN_SET);//电机2
      HAL_GPIO_WritePin (GPIOB,GPIO_PIN_7,GPIO_PIN_RESET);
      HAL_GPIO_WritePin (GPIOA,GPIO_PIN_10,GPIO_PIN_RESET);//电机3
      HAL_GPIO_WritePin (GPIOB,GPIO_PIN_15,GPIO_PIN_SET);
      HAL_GPIO_WritePin (GPIOB,GPIO_PIN_13,GPIO_PIN_RESET);//电机4
      HAL_GPIO_WritePin (GPIOB,GPIO_PIN_14,GPIO_PIN_SET);
}
void ControlMotorDirection_right_front()
{
      HAL_GPIO_WritePin (GPIOC,GPIO_PIN_13,GPIO_PIN_SET);//电机1
      HAL_GPIO_WritePin (GPIOC,GPIO_PIN_14,GPIO_PIN_RESET);
      HAL_GPIO_WritePin (GPIOB,GPIO_PIN_6,GPIO_PIN_RESET);//电机2
      HAL_GPIO_WritePin (GPIOB,GPIO_PIN_7,GPIO_PIN_SET);
      HAL_GPIO_WritePin (GPIOA,GPIO_PIN_10,GPIO_PIN_SET);//电机3
      HAL_GPIO_WritePin (GPIOB,GPIO_PIN_15,GPIO_PIN_RESET);
      HAL_GPIO_WritePin (GPIOB,GPIO_PIN_13,GPIO_PIN_SET);//电机4
      HAL_GPIO_WritePin (GPIOB,GPIO_PIN_14,GPIO_PIN_RESET);
}

void ControlMotorDirection_right_back()
{
      HAL_GPIO_WritePin (GPIOC,GPIO_PIN_13,GPIO_PIN_RESET);//电机1
      HAL_GPIO_WritePin (GPIOC,GPIO_PIN_14,GPIO_PIN_SET);
      HAL_GPIO_WritePin (GPIOB,GPIO_PIN_6,GPIO_PIN_SET);//电机2
      HAL_GPIO_WritePin (GPIOB,GPIO_PIN_7,GPIO_PIN_RESET);
      HAL_GPIO_WritePin (GPIOA,GPIO_PIN_10,GPIO_PIN_RESET);//电机3
      HAL_GPIO_WritePin (GPIOB,GPIO_PIN_15,GPIO_PIN_SET);
      HAL_GPIO_WritePin (GPIOB,GPIO_PIN_13,GPIO_PIN_RESET);//电机4
      HAL_GPIO_WritePin (GPIOB,GPIO_PIN_14,GPIO_PIN_SET);
}
void ControlMotorDirection_left_front()//0-45度
{
      HAL_GPIO_WritePin (GPIOC,GPIO_PIN_13,GPIO_PIN_SET);//电机1
      HAL_GPIO_WritePin (GPIOC,GPIO_PIN_14,GPIO_PIN_RESET);
      HAL_GPIO_WritePin (GPIOB,GPIO_PIN_6,GPIO_PIN_RESET);//电机2
      HAL_GPIO_WritePin (GPIOB,GPIO_PIN_7,GPIO_PIN_SET);
      HAL_GPIO_WritePin (GPIOA,GPIO_PIN_10,GPIO_PIN_SET);//电机3
      HAL_GPIO_WritePin (GPIOB,GPIO_PIN_15,GPIO_PIN_RESET);
      HAL_GPIO_WritePin (GPIOB,GPIO_PIN_13,GPIO_PIN_SET);//电机4
      HAL_GPIO_WritePin (GPIOB,GPIO_PIN_14,GPIO_PIN_RESET);
}
void ControlMotorDirection_left_back()
{
      HAL_GPIO_WritePin (GPIOC,GPIO_PIN_13,GPIO_PIN_RESET);//电机1
      HAL_GPIO_WritePin (GPIOC,GPIO_PIN_14,GPIO_PIN_SET);
      HAL_GPIO_WritePin (GPIOB,GPIO_PIN_6,GPIO_PIN_SET);//电机2
      HAL_GPIO_WritePin (GPIOB,GPIO_PIN_7,GPIO_PIN_RESET);
      HAL_GPIO_WritePin (GPIOA,GPIO_PIN_10,GPIO_PIN_RESET);//电机3
      HAL_GPIO_WritePin (GPIOB,GPIO_PIN_15,GPIO_PIN_SET);
      HAL_GPIO_WritePin (GPIOB,GPIO_PIN_13,GPIO_PIN_RESET);//电机4
      HAL_GPIO_WritePin (GPIOB,GPIO_PIN_14,GPIO_PIN_SET);
}
void ControlMotorDirection_left()
{
      HAL_GPIO_WritePin (GPIOC,GPIO_PIN_13,GPIO_PIN_RESET);//电机1
      HAL_GPIO_WritePin (GPIOC,GPIO_PIN_14,GPIO_PIN_SET);
      HAL_GPIO_WritePin (GPIOB,GPIO_PIN_6,GPIO_PIN_SET);//电机2
      HAL_GPIO_WritePin (GPIOB,GPIO_PIN_7,GPIO_PIN_RESET);
      HAL_GPIO_WritePin (GPIOA,GPIO_PIN_10,GPIO_PIN_SET);//电机3
      HAL_GPIO_WritePin (GPIOB,GPIO_PIN_15,GPIO_PIN_RESET);
      HAL_GPIO_WritePin (GPIOB,GPIO_PIN_13,GPIO_PIN_SET);//电机4
      HAL_GPIO_WritePin (GPIOB,GPIO_PIN_14,GPIO_PIN_RESET);
}
void ControlMotorDirection_right()
{
      HAL_GPIO_WritePin (GPIOC,GPIO_PIN_13,GPIO_PIN_SET);//电机1
      HAL_GPIO_WritePin (GPIOC,GPIO_PIN_14,GPIO_PIN_RESET);
      HAL_GPIO_WritePin (GPIOB,GPIO_PIN_6,GPIO_PIN_RESET);//电机2
      HAL_GPIO_WritePin (GPIOB,GPIO_PIN_7,GPIO_PIN_SET);
      HAL_GPIO_WritePin (GPIOA,GPIO_PIN_10,GPIO_PIN_RESET);//电机3
      HAL_GPIO_WritePin (GPIOB,GPIO_PIN_15,GPIO_PIN_SET);
      HAL_GPIO_WritePin (GPIOB,GPIO_PIN_13,GPIO_PIN_RESET);//电机4
      HAL_GPIO_WritePin (GPIOB,GPIO_PIN_14,GPIO_PIN_SET);
}
/* USER CODE END 4 */

void Error_Handler(void)
{
  __disable_irq();
  while (1)
  {
  }
}

/************************ (C) COPYRIGHT STMicroelectronics *****END OF FILE****/
